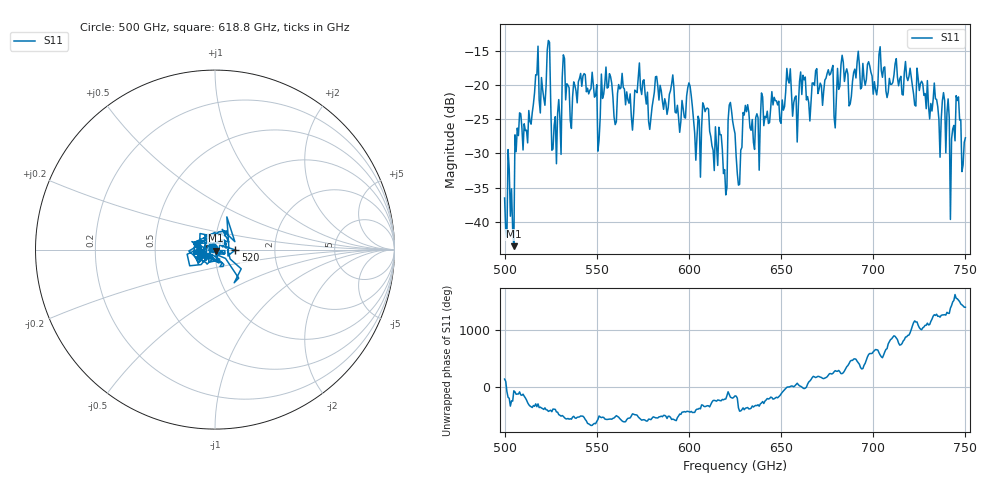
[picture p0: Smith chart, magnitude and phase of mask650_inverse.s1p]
!Created with skrf (http://scikit-rf.org).
# GHz S MA R 50.0
!freq magS11 angS11
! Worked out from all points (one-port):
!   401 points, 500 GHz to 750 GHz, reference 50 ohm
!   lowest |S11| = -43.6 dB at 505 GHz (marker M1), VSWR 1.01, Z = 50.3 - j0.589 ohm
!   |S11| at or under -10 dB: start of sweep to end of sweep
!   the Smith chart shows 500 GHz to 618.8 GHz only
!   S11 on the Smith chart (normalised r, x): 500 GHz: 0.98, +0.02; 520 GHz: 1.26, -0.01; 618.8 GHz: 0.97, +0.03
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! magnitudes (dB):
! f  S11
! 500 GHz  -36.5
! 505 GHz  -43.6
! 508.1 GHz  -24.0
! 520 GHz  -18.9
! 523.8 GHz  -13.4
! 526.9 GHz  -25.9
! 531.2 GHz  -18.9
! 542.5 GHz  -18.6
! 550.6 GHz  -29.7
! 562.5 GHz  -20.5
! 590.6 GHz  -19.8
! 593.8 GHz  -22.9
! 600 GHz  -19.6
! 605 GHz  -24.5
! 608.8 GHz  -23.9
! 618.8 GHz  -32.9
! 622.5 GHz  -22.5
! 625 GHz  -27.1
! 626.9 GHz  -34.6
! 630.6 GHz  -22.9
! 636.9 GHz  -24.2
! 656.2 GHz  -24.5
! 687.5 GHz  -22.7
! 718.8 GHz  -19.3
! 739.4 GHz  -29.9
! 743.1 GHz  -26.4
! 746.2 GHz  -21.7
! 750 GHz  -27.7
